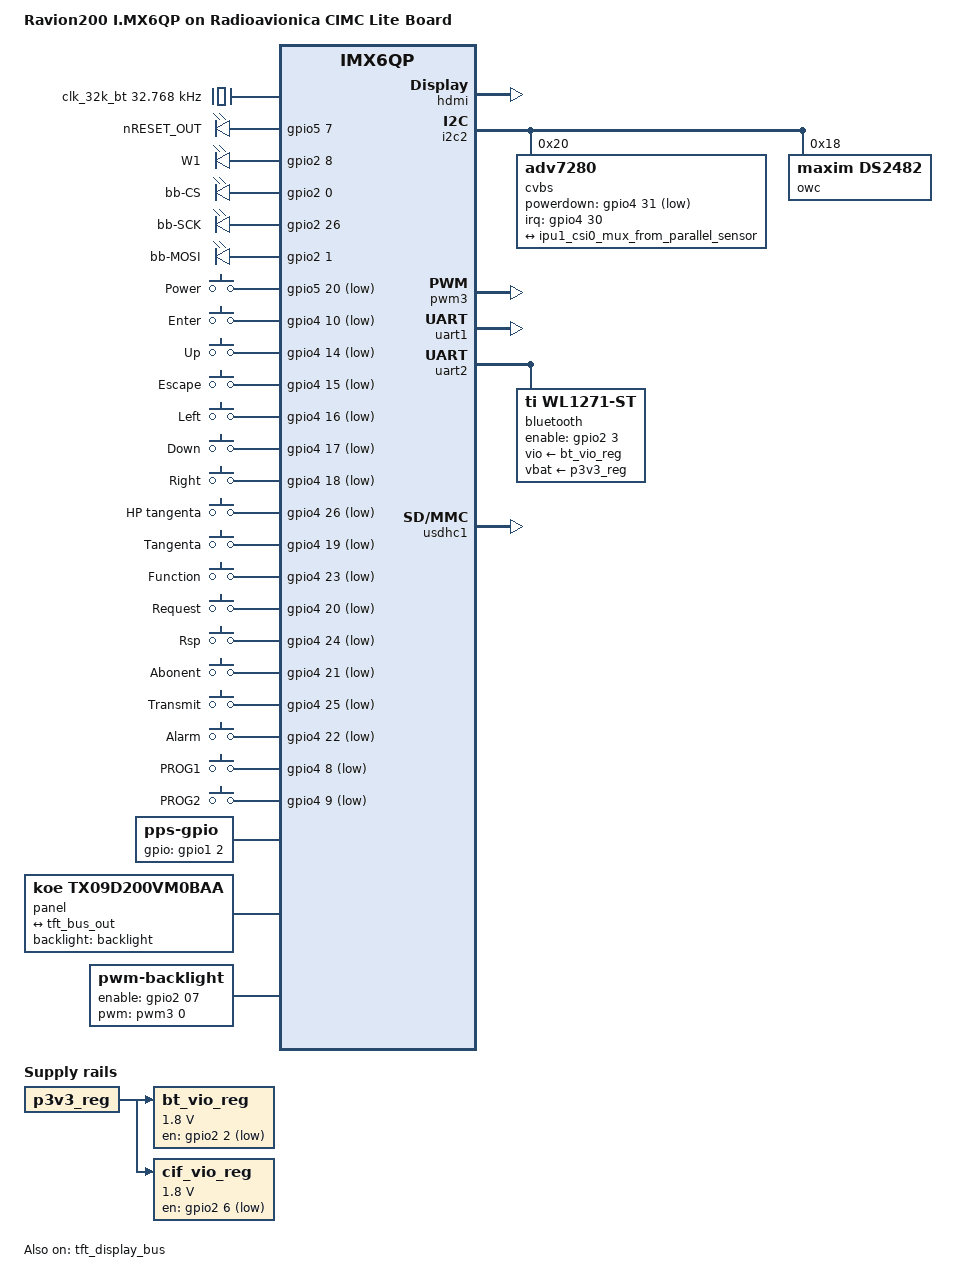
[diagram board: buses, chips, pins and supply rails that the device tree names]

/dts-v1/;

#include <dt-bindings/input/input.h>
#include <dt-bindings/interrupt-controller/irq.h>
#include "imx6qp.dtsi"
#include "imx6qp-ravion.dtsi"

/ {
	model = "Ravion200 I.MX6QP on Radioavionica CIMC Lite Board";
	compatible = "ravion,cimc-lite", "ravion,imx6qp", "fsl,imx6qp";

	/*
	 * Device specific clocks
	 */
	clocks {
		clk_32k_bt: bt_clk {
			compatible = "fixed-clock";
			#clock-cells = <0>;
			clock-frequency = <32768>;
			clock-accuracy = <100>;
		 };
	};

	/*
	 * Device specific regulators
	 */
	bt_vio_reg: bt_vio {
			pinctrl-names = "default";
			pinctrl-0 = <&pinctrl_reg_bt>;
			compatible = "regulator-fixed";
			regulator-name = "VIO_BT";
			regulator-min-microvolt = <1800000>;
			regulator-max-microvolt = <1800000>;
			gpio = <&gpio2 2 GPIO_ACTIVE_LOW>; /* SODIMM 115*/
			regulator-always-on;
			vin-supply = <&p3v3_reg>;
	};

	cif_vio_reg: cif_vio {
			pinctrl-names = "default";
			pinctrl-0 = <&pinctrl_reg_cif>;
			compatible = "regulator-fixed";
			regulator-name = "VIO_CIF";
			regulator-min-microvolt = <1800000>;
			regulator-max-microvolt = <1800000>;
			gpio = <&gpio2 6 GPIO_ACTIVE_LOW>; /* SODIMM 123*/
			regulator-always-on;
			vin-supply = <&p3v3_reg>;
	};

	/*
	 * Device specific leds
	 */
	gpio-leds {
		compatible = "gpio-leds";
		pinctrl-names = "default";
		pinctrl-0 = <&pinctrl_gpio_leds>;

		reset_out {
			label = "nRESET_OUT";
			gpios = <&gpio5 7 GPIO_ACTIVE_HIGH>; /* SODIMM  87 */
			default-state = "on";
		};

		w1 {
			label = "W1";
			gpios = <&gpio2 8 GPIO_ACTIVE_HIGH>; /* SODIMM 127 */
			default-state = "on";
		};

		/* KOE display SPI-bitband control lines */
		spi_cs {
			label = "bb-CS";
			gpios = <&gpio2 0 GPIO_ACTIVE_HIGH>; /* SODIMM 111 */
			default-state = "on";
		};
		spi_sck {
			label = "bb-SCK";
			gpios = <&gpio2 26 GPIO_ACTIVE_HIGH>; /* SODIMM 112 */
			default-state = "on";
		};
		spi_mosi {
			label = "bb-MOSI";
			gpios = <&gpio2 1 GPIO_ACTIVE_HIGH>; /* SODIMM 113 */
			default-state = "on";
		};
		/* SODIMM 114 - bb-MISO - not used input */
	};

	/*
	 * Device specific keys
	 */
	gpio-keys {
		compatible = "gpio-keys";
		pinctrl-names = "default";
		pinctrl-0 = <&pinctrl_gpio_keys>;

		power {
			label = "Power";
			gpios = <&gpio5 20 GPIO_ACTIVE_LOW>; /* soDimm 45 */
			linux,code = <KEY_POWER>;
			debounce-interval = <100>;
			wakeup-source;
		};

		enter {
			label = "Enter";
			gpios = <&gpio4 10 GPIO_ACTIVE_LOW>; /* SODIMM 154 */
			linux,code = <KEY_ENTER>;
			debounce-interval = <100>;
		};
		up {
			label = "Up";
			gpios = <&gpio4 14 GPIO_ACTIVE_LOW>; /* SODIMM 156 */
			linux,code = <KEY_UP>;
			debounce-interval = <100>;
		};
		escape {
			label = "Escape";
			gpios = <&gpio4 15 GPIO_ACTIVE_LOW>; /* SODIMM 158 */
			linux,code = <KEY_ESC>;
			debounce-interval = <100>;
		};
		left {
			label = "Left";
			gpios = <&gpio4 16 GPIO_ACTIVE_LOW>; /* SODIMM 160 */
			linux,code = <KEY_LEFT>;
			debounce-interval = <100>;
		};
		down {
			label = "Down";
			gpios = <&gpio4 17 GPIO_ACTIVE_LOW>; /* SODIMM 162 */
			linux,code = <KEY_DOWN>;
			debounce-interval = <100>;
		};
		right {
			label = "Right";
			gpios = <&gpio4 18 GPIO_ACTIVE_LOW>; /* SODIMM 164 */
			linux,code = <KEY_RIGHT>;
			debounce-interval = <100>;
			wakeup-source;
		};
		hp_tangenta {
			label = "HP tangenta";
			gpios = <&gpio4 26 GPIO_ACTIVE_LOW>; /* SODIMM 180 */
			linux,code = <KEY_F2>;
			debounce-interval = <100>;
		};
		tangenta {
			label = "Tangenta";
			gpios = <&gpio4 19 GPIO_ACTIVE_LOW>; /* SODIMM 166 */
			linux,code = <KEY_F2>;
			debounce-interval = <100>;
		};
		function {
			label = "Function";
			gpios = <&gpio4 23 GPIO_ACTIVE_LOW>; /* SODIMM 174 */
			linux,code = <KEY_F3>;
			debounce-interval = <100>;
		};
		request {
			label = "Request";
			gpios = <&gpio4 20 GPIO_ACTIVE_LOW>; /* SODIMM 168 */
			linux,code = <KEY_F4>;
			debounce-interval = <100>;
		};
		rsp {
			label = "Rsp";
			gpios = <&gpio4 24 GPIO_ACTIVE_LOW>; /* SODIMM 176 */
			linux,code = <KEY_F5>;
			debounce-interval = <100>;
		};
		abonent {
			label = "Abonent";
			gpios = <&gpio4 21 GPIO_ACTIVE_LOW>; /* SODIMM 170 */
			linux,code = <KEY_F6>;
			debounce-interval = <100>;
		};
		transmit {
			label = "Transmit";
			gpios = <&gpio4 25 GPIO_ACTIVE_LOW>; /* SODIMM 178 */
			linux,code = <KEY_F7>;
			debounce-interval = <100>;
		};
		alarm {
			label = "Alarm";
			gpios = <&gpio4 22 GPIO_ACTIVE_LOW>; /* SODIMM 172 */
			linux,code = <KEY_F8>;
			debounce-interval = <100>;
		};
		/* temporary unused buttons */
		fm1 {
			label = "PROG1";
			gpios = <&gpio4 8 GPIO_ACTIVE_LOW>; /* SODIMM 150 */
			linux,code = <KEY_F11>;
			debounce-interval = <100>;
		};
		fm2 {
			label = "PROG2";
			gpios = <&gpio4 9 GPIO_ACTIVE_LOW>; /* SODIMM 152 */
			linux,code = <KEY_F12>;
			debounce-interval = <100>;
		};
	};

	/*
	 * PPS pin from SNS receiver
	 */
	pps {
		compatible = "pps-gpio";
		pinctrl-names = "default";
		pinctrl-0 = <&pinctrl_pps_gpio>;

		gpios = <&gpio1 2 GPIO_ACTIVE_HIGH>; /* soDimm 55 */
		assert-falling-edge;
		status = "okay";
	};

	/*
	 * LCD Panel
	 */
	panel {
		compatible = "koe,tx09d200vm0baa";
		backlight = <&backlight>;

		port {
			lcd_panel_in: endpoint {
				remote-endpoint = <&tft_bus_out>;
			};
		};
	};

	backlight: backlight {
		pinctrl-names = "default";
		pinctrl-0 = <&pinctrl_gpio_bl_on>;
		compatible = "pwm-backlight";
		enable-gpios = <&gpio2 07 GPIO_ACTIVE_HIGH>;	/* soDimm 125 */
		pwms = <&pwm3 0 500>;
		brightness-levels = <0 31 63 95 127 159 191 223 255>;
		default-brightness-level = <4>;
		status = "okay";
	};
};

&hdmi	{	status = "okay";	};

/*
 * TFT Display subsystem
 */
&tft_display_bus {
	status = "okay";
};

&tft_bus_out {
	remote-endpoint = <&lcd_panel_in>;
};

/*
 * Colibri I2C: I2C2_SDA/SCL on SODIMM 194/196 (compatible)
 */
&i2c2 {
	status = "okay";

	/* Composite video capture interface - encoder cip */
	cvbs: adv7280@20 {
		reg = <0x20>;
		compatible = "adv7280", "adi,adv7280";
		pinctrl-names = "default";
		pinctrl-0 = <&pinctrl_adv7280>;
		interrupt-parent = <&gpio4>;
		interrupts = <30 IRQ_TYPE_LEVEL_LOW>;
		powerdown-gpios = <&gpio4 31 GPIO_ACTIVE_LOW>;
		input-names = "Ain1","Ain2","Ain3","Ain4";
		inputs = <0x00 0x01 0x02 0x03>;
		status = "okay";

		port {
			adv7280_ep: endpoint {
				remote-endpoint = <&ipu1_csi0_mux_from_parallel_sensor>;
				bus-width = <8>;
			};
		};
	};

	/* DS2484: I2C to OneWire Converter */
	owc: ds2482@18 {
		status = "okay";
		compatible = "maxim,ds2482";
		reg = <0x18>;
	};
};

/*
 * Composite video capture interface
 */
&ipu1_csi0_mux_from_parallel_sensor {
	remote-endpoint = <&adv7280_ep>;
};

&ipu1_csi0 {
	pinctrl-names = "default";
	pinctrl-0 = <&pinctrl_ipu1_csi0>;
};

/* Only pwm1 used as bright contol, all other - disabled  */
&pwm3 { status = "okay";	}; /* soDimm 28 - LCD bright */

/* uart1 - sys (3w), uart2 - bluetoth (H3), uart3 disabled by default */
&uart1 { status = "okay"; }; /* default full feature uart */
&uart2 { /* default have CTS/RTS pins */
	status = "okay";

	bluetooth {
		pinctrl-names = "default";
		pinctrl-0 = <&pinctrl_bluetooth>;

		enable-gpios	= <&gpio2 3 GPIO_ACTIVE_HIGH>; /* SODIMM 117 */
		compatible	= "ti,wl1271-st";
		clocks		= <&clk_32k_bt 0>;
		clock-names	= "ext_clock";
		max-speed	= <3686400>;
		/*
		 * Params not found in source, but described in documentation
		 */
		current-speed	= <115200>;
		vio-supply	= <&bt_vio_reg>;
		vbat-supply	= <&p3v3_reg>;
		status = "okay";
	};
};

/* external (compatible) mmc card */
&usdhc1 { status = "okay"; };

/* Board specific io muxing */
&iomuxc {
	pinctrl_gpio_bl_on: gpioblon {
		fsl,pins = <
			MX6QDL_PAD_NANDF_D7__GPIO2_IO07	0x1b0b0 /* soDimm 125 */
		>;
	};

	pinctrl_adv7280: gpio-adv7280 {
		fsl,pins = <
			MX6QDL_PAD_DISP0_DAT9__GPIO4_IO30	0x1b0b0 /* soDimm 71: CIF_D0/CIF_IRQn */
			MX6QDL_PAD_DISP0_DAT10__GPIO4_IO31	0x0f058 /* soDimm 98: CIF_D1/CIF_nPDN */
		>;
	};

	pinctrl_bluetooth: gpio-bluetooth {
		fsl,pins = <
			MX6QDL_PAD_NANDF_D3__GPIO2_IO03	0x0f058 /* PU_22K soDimm 117 - nBT_PDN */
		>;
	};

	pinctrl_reg_bt: gpio-reg-bt {
		fsl,pins = <
			MX6QDL_PAD_NANDF_D2__GPIO2_IO02	0x0f058 /* PU_22K soDimm 115: BT_PWR */
		>;
	};

	pinctrl_reg_cif: gpio-reg-cif {
		fsl,pins = <
			MX6QDL_PAD_NANDF_D6__GPIO2_IO06	0x0f058 /* PU_22K soDimm 123: CIF_PWR */
		>;
	};

	pinctrl_gpio_leds: gpio-leds {
		fsl,pins = <
			MX6QDL_PAD_DISP0_DAT13__GPIO5_IO07	0xf058 /* soDimm87: nRESET_OUT  */
			MX6QDL_PAD_SD4_DAT0__GPIO2_IO08		0xf058 /* soDImm127: SLPZ@DS2484R */
			MX6QDL_PAD_NANDF_D0__GPIO2_IO00		0xf058 /* KOE CS   - soDimm 111 */
			MX6QDL_PAD_EIM_RW__GPIO2_IO26		0xf058 /* KOE SCK  - soDimm 112 */
			MX6QDL_PAD_NANDF_D1__GPIO2_IO01		0xf058 /* KOE MOSI - soDimm 113 */
			MX6QDL_PAD_EIM_LBA__GPIO2_IO27		0x1b0b0 /* KOE MISO - soDimm 114 - stay input, not used */
		>;
	};

	pinctrl_gpio_keys: gpio-keys {
		fsl,pins = <
			MX6QDL_PAD_CSI0_DATA_EN__GPIO5_IO20	0x1b0b0	/* Power Button soDimm  45 */
			MX6QDL_PAD_KEY_COL1__GPIO4_IO08		0x1b0b0	/* FM1:		soDimm 150 */
			MX6QDL_PAD_KEY_ROW1__GPIO4_IO09		0x1b0b0	/* FM2:		soDimm 152 */
			MX6QDL_PAD_KEY_COL2__GPIO4_IO10		0x1b0b0	/* Enter:	soDimm 154 */
			MX6QDL_PAD_KEY_COL4__GPIO4_IO14		0x1b0b0	/* Up:		soDimm 156 */
			MX6QDL_PAD_KEY_ROW4__GPIO4_IO15		0x1b0b0	/* Escape	soDimm 158 */
			MX6QDL_PAD_DI0_DISP_CLK__GPIO4_IO16	0x1b0b0	/* Left:	soDimm 160 */
			MX6QDL_PAD_DI0_PIN15__GPIO4_IO17	0x1b0b0	/* Down:	soDimm 162 */
			MX6QDL_PAD_DI0_PIN2__GPIO4_IO18		0x1b0b0	/* Rigth:	soDimm 164 */
			MX6QDL_PAD_DI0_PIN3__GPIO4_IO19		0x1b0b0	/* Tangenta:	soDimm 166 */
			MX6QDL_PAD_DI0_PIN4__GPIO4_IO20		0x1b0b0	/* Request:	soDimm 168 */
			MX6QDL_PAD_DISP0_DAT0__GPIO4_IO21	0x1b0b0	/* Abonent:	soDimm 170 */
			MX6QDL_PAD_DISP0_DAT1__GPIO4_IO22	0x1b0b0	/* Alarm:	soDimm 172 */
			MX6QDL_PAD_DISP0_DAT2__GPIO4_IO23	0x1b0b0	/* Function:	soDimm 174 */
			MX6QDL_PAD_DISP0_DAT3__GPIO4_IO24	0x1b0b0	/* RSP:		soDimm 176 */
			MX6QDL_PAD_DISP0_DAT4__GPIO4_IO25	0x1b0b0	/* Transmit:	soDimm 178 */
			MX6QDL_PAD_DISP0_DAT5__GPIO4_IO26	0x1b0b0	/* HP Tangenta:	soDimm 180 */
		>;
	};

	pinctrl_pps_gpio: gpiopps {
		fsl,pins = <
			MX6QDL_PAD_GPIO_2__GPIO1_IO02		0x1b0b0 /* soDimm 55 */
		>;
	};
};
